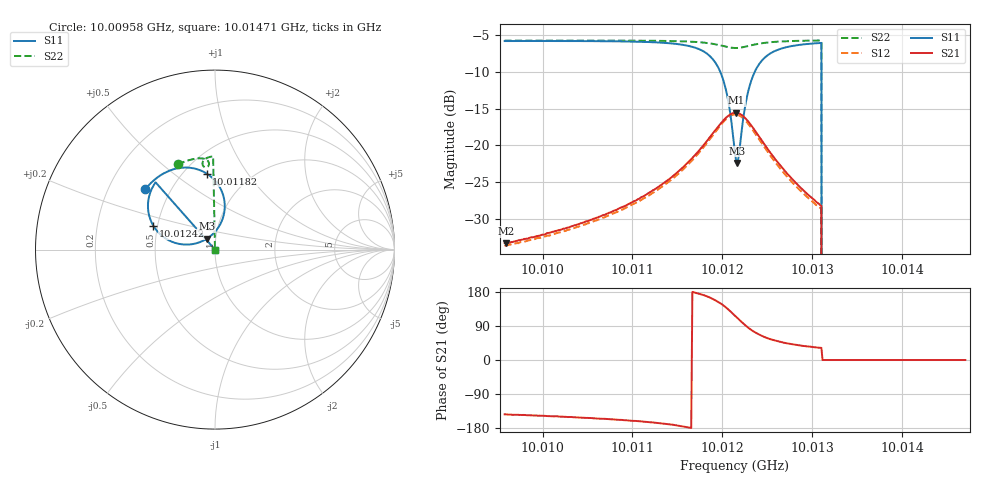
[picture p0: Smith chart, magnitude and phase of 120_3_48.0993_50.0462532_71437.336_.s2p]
#  HZ  S  RI  R  50.00
! Rohde & Schwarz Vector Network Analyzer
! Rohde-Schwarz,ZNB20-2Port,1311601062101988,3.16
! Created: UTC 12/23/2023, 3:46:40 AM
! freq[Hz]  re:S11  im:S11  re:S21  im:S21  re:S12  im:S12  re:S22  im:S22
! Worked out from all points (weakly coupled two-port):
!   401 points, 10.00958 GHz to 10.01471 GHz, reference 50 ohm
!   highest |S21| = -15.55 dB at 10.01215 GHz (marker M1); lowest = -33.4 dB at 10.00959 GHz (marker M2)
!   lowest |S11| = -22.4 dB at 10.01217 GHz (marker M3), VSWR 1.16, Z = 45.3 + j5.49 ohm
!   |S11| at or under -10 dB: 10.01198 GHz to 10.01236 GHz (380.9 kHz wide, 0.0038 % of centre); 10.0131 GHz to end of sweep
!   |S22| runs from - to -5.7 dB; largest |S21 - S12| = 0.008
!   S11 on the Smith chart (normalised r, x): 10.00958 GHz: 0.36, +0.33; 10.01182 GHz: 0.64, +0.67; 10.01242 GHz: 0.47, +0.15; 10.01471 GHz: 1.00, +0.00
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1.0009577e10  -0.3873 0.3395  -0.0173 -0.0129  -0.0159 -0.013  -0.2072 0.4749
1.000959e10  -0.3866 0.3403  -0.0172 -0.0128  -0.0161 -0.0132  -0.2063 0.4752
1.0010436e10  -0.3323 0.3933  -0.0262 -0.0137  -0.0246 -0.0145  -0.1533 0.4957
1.0011296e10  -0.2299 0.4479  -0.051 -0.0124  -0.0486 -0.0143  -0.0923 0.5084
1.001159e10  -0.1532 0.4571  -0.0734 -0.00446  -0.0707 -0.00802  -0.067 0.5076
1.0011821e10  -0.0465 0.4238  -0.1037 0.0204  -0.1015 0.0147  -0.0445 0.4985
1.0011937e10  0.0215 0.3557  -0.1187 0.0536  -0.1183 0.0461  -0.035 0.4865
1.0012014e10  0.0525 0.2713  -0.12 0.0874  -0.1209 0.08  -0.0335 0.475
1.0012078e10  0.0447 0.178  -0.106 0.1214  -0.1084 0.1143  -0.038 0.4651
1.0012142e10  -0.0111 0.0875  -0.0752 0.149  -0.0793 0.1421  -0.0478 0.4593
1.0012155e10  -0.0275 0.0734  -0.0676 0.1527  -0.0716 0.1459  -0.0503 0.4589
1.0012167e10  -0.0463 0.0603  -0.0594 0.1555  -0.0636 0.149  -0.0525 0.459
1.0012193e10  -0.0854 0.041  -0.0432 0.1586  -0.0468 0.1526  -0.0572 0.4599
1.0012244e10  -0.1668 0.0281  -0.0112 0.1556  -0.0154 0.1502  -0.0648 0.4651
1.0012296e10  -0.2393 0.0435  0.015 0.1432  0.00987 0.1383  -0.0691 0.4727
1.0012424e10  -0.3433 0.1326  0.0461 0.1018  0.0408 0.0987  -0.0669 0.4914
1.0012629e10  -0.3733 0.2542  0.0494 0.0565  0.0447 0.0558  -0.05 0.5081
1.0013001e10  -0.3415 0.3586  0.036 0.0247  0.033 0.0252  -0.0184 0.5185
1.0013078e10  -0.3335 0.3713  0.0336 0.0214  0.031 0.0218  -0.0125 0.5195
1.0013142e10  0 0  0 0  0 0  0 0
1.001386e10  0 0  0 0  0 0  0 0
1.0014706e10  0 0  0 0  0 0  0 0
